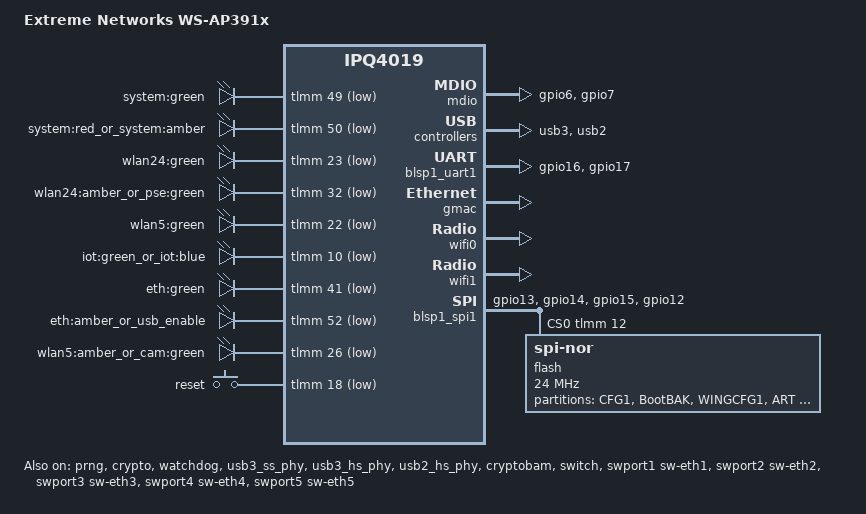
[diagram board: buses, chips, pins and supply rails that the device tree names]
// SPDX-License-Identifier: GPL-2.0-only OR MIT

#include "qcom-ipq4019.dtsi"
#include <dt-bindings/gpio/gpio.h>
#include <dt-bindings/input/input.h>
#include <dt-bindings/soc/qcom,tcsr.h>

/ {
	model = "Extreme Networks WS-AP391x";
	compatible = "extreme-networks,ws-ap391x";

	aliases {
		// TODO: Verify if the ethernet0 alias is needed
		ethernet0 = &gmac;
		led-boot = &led_system_green;
		led-failsafe = &led_system_red;
		led-running = &led_system_green;
		led-upgrade = &led_system_red;
	};

	soc {

		tcsr@1949000 {
			compatible = "qcom,tcsr";
			reg = <0x1949000 0x100>;
			qcom,wifi_glb_cfg = <TCSR_WIFI_GLB_CFG>;
		};

		ess_tcsr@1953000 {
			compatible = "qcom,tcsr";
			reg = <0x1953000 0x1000>;
			qcom,ess-interface-select = <TCSR_ESS_PSGMII>;
		};

		tcsr@1957000 {
			compatible = "qcom,tcsr";
			reg = <0x1957000 0x100>;
			qcom,wifi_noc_memtype_m0_m2 = <TCSR_WIFI_NOC_MEMTYPE_M0_M2>;
		};

	};

	leds {
		compatible = "gpio-leds";

		led_system_green: system_green {
			label = "system:green";
			gpios = <&tlmm 49 GPIO_ACTIVE_LOW>;
		};

		/*
		 * system:amber ==> AP3917
		 * system:red ==> AP3916
		 * */
		led_system_red: system_red {
			label = "system:red_or_system:amber";
			gpios = <&tlmm 50 GPIO_ACTIVE_LOW>;
		};

		led_wlan24_green: wlan24_green {
			label = "wlan24:green";
			gpios = <&tlmm 23 GPIO_ACTIVE_LOW>;
			linux,default-trigger = "phy0tpt";
		};

		/*
		 * wlan24:amber ==> AP3915/AP3917
		 * pse:green ==> AP3912
		 * */
		led_wlan24_amber: wlan24_amber {
			label = "wlan24:amber_or_pse:green";
			gpios = <&tlmm 32 GPIO_ACTIVE_LOW>;
		};

		led_wlan5_green: wlan5_green {
			label = "wlan5:green";
			gpios = <&tlmm 22 GPIO_ACTIVE_LOW>;
			linux,default-trigger = "phy1tpt";
		};

		/* iot:blue ==>  AP3917 */
		led_iot_green: iot_green {
			label = "iot:green_or_iot:blue";
			gpios = <&tlmm 10 GPIO_ACTIVE_LOW>;
		};

		/* eth:green ==> only AP3912/AP3916 */
		led_eth_green: eth_green {
			label = "eth:green";
			gpios = <&tlmm 41 GPIO_ACTIVE_LOW>;
		};

		/*
		 * eth:amber ==> only AP3912/AP3916
		 * usb_enable ==> only AP3915e
		 */
		led_eth_amber: eth_amber {
			label = "eth:amber_or_usb_enable";
			gpios = <&tlmm 52 GPIO_ACTIVE_LOW>;
		};

		/*
		 * wlan5:amber ==> AP3915/AP3917
		 * cam:green ==> only AP3916
		 */
		led_wlan5_amber: wlan5_amber {
			label = "wlan5:amber_or_cam:green";
			gpios = <&tlmm 26 GPIO_ACTIVE_LOW>;
		};

	};

	keys {
		compatible = "gpio-keys";

		reset {
			label = "reset";
			gpios = <&tlmm 18 GPIO_ACTIVE_LOW>;
			linux,code = <KEY_RESTART >;
		};
	};
};

&prng {
	status = "okay";
};

&mdio {
	status = "okay";
	pinctrl-0 = <&mdio_pins>;
	pinctrl-names = "default";
};

&crypto {
	status = "okay";
};

&watchdog {
	status = "okay";
};

&usb3_ss_phy {
	status = "okay";
};

&usb3_hs_phy {
	status = "okay";
};

&usb3 {
	status = "okay";
};

&usb2_hs_phy {
	status = "okay";
};

&usb2 {
	status = "okay";
};

&blsp_dma {
	status = "okay";
};

&blsp1_uart1 {
	pinctrl-0 = <&serial_pins>;
	pinctrl-names = "default";
	status = "okay";
};

&cryptobam {
	status = "okay";
};

&gmac {
	status = "okay";
};

&switch {
	status = "okay";
};

&swport1 {
	status = "okay";
	label = "sw-eth1";
};

&swport2 {
	status = "okay";
	label = "sw-eth2";
};

&swport3 {
	status = "okay";
	label = "sw-eth3";
};

/* "GE2" on AP3917/AP3916/WiNG-AP7662 */
&swport4 {
	status = "okay";
	label = "sw-eth4";
};

/*
 * "GE1" on AP3917/AP3916/AP3915/AP7662
 * "LAN1" on EXTR-AP3912
 */
&swport5 {
	status = "okay";
	label = "sw-eth5";
};

&tlmm {
	mdio_pins: mdio_pinmux {
		mux_1 {
			pins = "gpio6";
			function = "mdio";
			bias-pull-up;
		};
		mux_2 {
			pins = "gpio7";
			function = "mdc";
			bias-pull-up;
		};
	};

	spi_0_pins: spi_0_pinmux {
		pin {
			function = "blsp_spi0";
			pins = "gpio13", "gpio14", "gpio15";
			drive-strength = <12>;
			bias-disable;
		};
		pin_cs {
			function = "gpio";
			pins = "gpio12";
			drive-strength = <2>;
			bias-disable;
			output-high;
		};
	};

	serial_pins: serial_0_pinmux {
		mux {
			pins = "gpio16", "gpio17";
			function = "blsp_uart0";
			bias-disable;
		};
	};
};

&wifi0 {
	status = "okay";
	qcom,ath10k-calibration-variant = "Extreme-Networks-WS-AP3915i";
};

&wifi1 {
	status = "okay";
	qcom,ath10k-calibration-variant = "Extreme-Networks-WS-AP3915i";
};

&blsp1_spi1 {
	pinctrl-0 = <&spi_0_pins>;
	pinctrl-names = "default";
	status = "okay";
	cs-gpios = <&tlmm 12 GPIO_ACTIVE_HIGH>;

	flash@0 {
		compatible = "jedec,spi-nor";
		reg = <0>;
		spi-max-frequency = <24000000>;

		partitions {
			compatible = "fixed-partitions";
			#address-cells = <1>;
			#size-cells = <1>;

			/* Layout for 0x0 - 0xe0000 unknown */

			partition@e0000 {
				label = "CFG1";
				compatible = "u-boot,env-redundant-bool";
				reg = <0xe0000 0x10000>;
				read-only;
			};

			partition@f0000 {
				label = "BootBAK";
				reg = <0xf0000 0x70000>;
				read-only;
			};

			partition@160000 {
				label = "WINGCFG1";
				reg = <0x160000 0x10000>;
				read-only;
			};

			partition@170000 {
				label = "ART";
				reg = <0x170000 0x10000>;
				read-only;
			};

			partition@180000 {
				label = "BootPRI";
				reg = <0x180000 0x70000>;
				read-only;
			};

			partition@1f0000 {
				label = "WINGCFG2";
				reg = <0x1f0000 0x10000>;
				read-only;
			};

			partition@200000 {
				label = "FS";
				reg = <0x200000 0x80000>;
				read-only;
			};

			partition@280000 {
				label = "firmware";
				reg = <0x280000 0xeb0000>;
			};

			partition@1130000 {
				label = "firmware2";
				reg = <0x1130000 0xeb0000>;
			};

			partition@1fe0000 {
				label = "CFG2";
				compatible = "u-boot,env-redundant-bool";
				reg = <0x1fe0000 0x10000>;
				read-only;
			};
		};
	};
};
